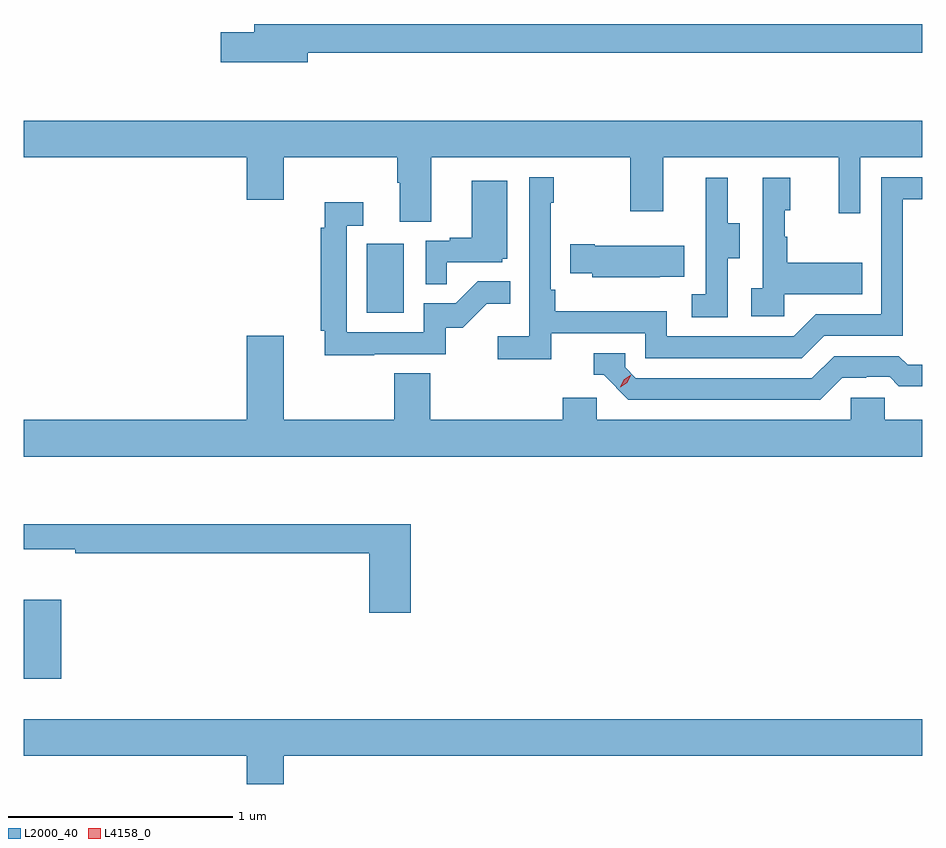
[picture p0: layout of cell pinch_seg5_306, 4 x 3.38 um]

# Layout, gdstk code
import gdstk
lib = gdstk.Library(unit=1e-6, precision=1e-09)
def R(c, l, rs):  # rectangles x0, y0, x1, y1
    for r in rs: c.add(gdstk.rectangle(r[:2], r[2:], *l))
def P(c, l, *ps):  # polygons
    for p in ps: c.add(gdstk.Polygon(p, *l))
L2000_40 = (2000, 40)
L4158_0 = (4158, 0)

pinch_seg5_306 = lib.new_cell('pinch_seg5_306')
R(pinch_seg5_306, L2000_40, [(907.271,891.735,907.439,892.087), (908.798,893.364,908.962,893.671)])
P(pinch_seg5_306, L2000_40, [(908.536,894.522),(911.271,894.522),(911.271,894.65),(908.297,894.65),(908.297,894.614),(908.148,894.614),(908.148,894.479),(908.536,894.479)],
  [(909.085,894.056),(909.97,894.056),(909.97,893.817),(910.117,893.817),(910.117,894.056),(910.898,894.056),(910.898,893.808),(910.995,893.808),(910.995,894.056),(911.271,894.056),(911.271,894.22),(907.271,894.22),(907.271,894.056),(908.264,894.056),(908.264,893.868),(908.428,893.868),(908.428,894.056),(908.933,894.056),(908.933,893.944),(908.945,893.944),(908.945,893.77),(909.085,893.77)],
  [(909.62,893.274),(910.038,893.274),(910.038,893.163),(910.735,893.163),(910.834,893.262),(911.184,893.262),(911.184,893.871),(911.271,893.871),(911.271,893.967),(911.088,893.967),(911.088,893.358),(910.797,893.358),(910.698,893.259),(910.134,893.259),(910.134,893.371),(909.638,893.371),(909.638,893.467),(909.618,893.467),(909.618,893.855),(909.631,893.855),(909.631,893.968),(909.522,893.968),(909.522,893.26),(909.381,893.26),(909.381,893.158),(909.62,893.158)],
  [(910.404,893.608),(910.459,893.608),(910.459,893.763),(910.405,893.763),(910.405,893.965),(910.307,893.965),(910.307,893.751),(910.308,893.751),(910.308,893.447),(910.245,893.447),(910.245,893.344),(910.404,893.344)],
  [(910.656,893.447),(911.003,893.447),(911.003,893.587),(910.669,893.587),(910.669,893.702),(910.659,893.702),(910.659,893.82),(910.684,893.82),(910.684,893.965),(910.56,893.965),(910.56,893.474),(910.509,893.474),(910.509,893.349),(910.656,893.349)],
  [(909.155,893.589),(909.402,893.589),(909.402,893.604),(909.424,893.604),(909.424,893.953),(909.266,893.953),(909.266,893.698),(909.167,893.698),(909.167,893.685),(909.06,893.685),(909.06,893.491),(909.155,893.491)],
  [(908.831,893.181),(909.15,893.181),(909.15,893.298),(909.226,893.298),(909.333,893.405),(909.437,893.405),(909.437,893.504),(909.293,893.504),(909.195,893.406),(909.051,893.406),(909.051,893.277),(908.709,893.277),(908.709,893.751),(908.782,893.751),(908.782,893.857),(908.612,893.857),(908.612,893.744),(908.593,893.744),(908.593,893.284),(908.612,893.284),(908.612,893.176),(908.831,893.176)],
  [(910.103,893.525),(910.211,893.525),(910.211,893.662),(909.814,893.662),(909.814,893.67),(909.703,893.67),(909.703,893.54),(909.801,893.54),(909.801,893.522),(910.103,893.522)],
  [(911.271,892.888),(911.103,892.888),(911.103,892.986),(910.953,892.986),(910.953,892.888),(909.822,892.888),(909.822,892.986),(909.671,892.986),(909.671,892.888),(909.08,892.888),(909.08,893.096),(908.92,893.096),(908.92,892.888),(908.428,892.888),(908.428,893.263),(908.264,893.263),(908.264,892.888),(907.271,892.888),(907.271,892.724),(911.271,892.724)],
  [(910.915,893.076),(911.022,893.076),(911.022,893.079),(911.125,893.079),(911.167,893.037),(911.271,893.037),(911.271,893.133),(911.206,893.133),(911.167,893.172),(910.878,893.172),(910.779,893.073),(909.996,893.073),(909.948,893.121),(909.948,893.184),(909.809,893.184),(909.809,893.088),(909.852,893.088),(909.963,892.977),(910.816,892.977)],
  [(908.993,892.423),(907.271,892.423),(907.271,892.312),(907.5,892.312),(907.5,892.294),(908.81,892.294),(908.81,892.029),(908.993,892.029)],
  [(908.428,891.392),(911.271,891.392),(911.271,891.556),(907.271,891.556),(907.271,891.392),(908.264,891.392),(908.264,891.267),(908.428,891.267)])
P(pinch_seg5_306, L4158_0, [(909.927,893.033),(909.927,893.034),(909.942,893.066),(909.972,893.086),(909.973,893.086),(909.973,893.086),(909.957,893.053),(909.927,893.033)])

lib.write_gds('pinch_seg5_306.gds')
